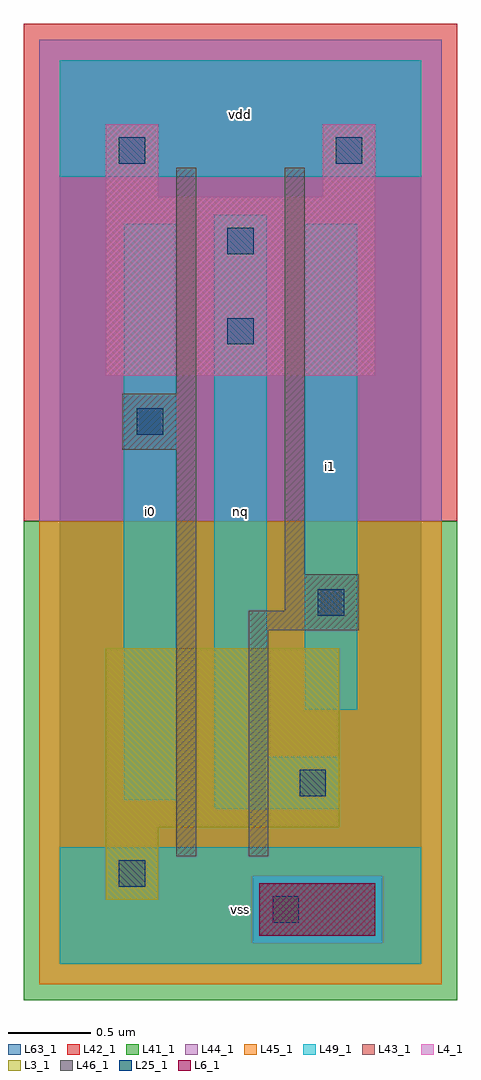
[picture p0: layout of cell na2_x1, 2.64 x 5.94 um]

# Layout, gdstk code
import gdstk
lib = gdstk.Library(unit=1e-6, precision=1e-09)
def R(c, l, rs):  # rectangles x0, y0, x1, y1
    for r in rs: c.add(gdstk.rectangle(r[:2], r[2:], *l))
L3_1 = (3, 1)
L4_1 = (4, 1)
L6_1 = (6, 1)
L25_1 = (25, 1)
L41_1 = (41, 1)
L42_1 = (42, 1)
L43_1 = (43, 1)
L44_1 = (44, 1)
L45_1 = (45, 1)
L46_1 = (46, 1)
L49_1 = (49, 1)
L63_1 = (63, 1)

na2_x1 = lib.new_cell('na2_x1')
R(na2_x1, L3_1, [(0.28,0.39,0.6,0.83), (0.28,0.83,1.7,1.92)])
R(na2_x1, L4_1, [(0.28,3.58,1.92,4.67), (0.28,4.67,0.6,5.11), (1.6,4.67,1.92,5.11)])
R(na2_x1, L6_1, [(1.215,0.17,1.92,0.49)])
R(na2_x1, L25_1, [(1.295,0.25,1.455,0.41), (0.36,0.47,0.52,0.63), (1.46,1.02,1.62,1.18), (1.57,2.12,1.73,2.28), (0.47,3.22,0.63,3.38), (1.02,3.77,1.18,3.93), (1.02,4.32,1.18,4.48), (0.36,4.87,0.52,5.03), (1.68,4.87,1.84,5.03)])
R(na2_x1, L41_1, [(-0.22,-0.22,2.42,2.695)])
R(na2_x1, L42_1, [(-0.22,2.695,2.42,5.72)])
R(na2_x1, L43_1, [(1.215,0.17,1.92,0.49), (0.28,0.39,0.6,0.83), (0.28,0.83,1.7,1.92), (0.28,3.58,1.92,4.67), (0.28,4.67,0.6,5.11), (1.6,4.67,1.92,5.11)])
R(na2_x1, L44_1, [(1.17,0.125,1.965,0.535), (-0.125,2.695,2.325,5.625)])
R(na2_x1, L45_1, [(-0.125,-0.125,2.325,0.125), (-0.125,0.125,1.17,0.535), (1.965,0.125,2.325,0.535), (-0.125,0.535,2.325,2.695)])
R(na2_x1, L46_1, [(0.71,0.655,0.83,3.13), (1.15,0.655,1.27,2.03), (1.15,2.03,1.82,2.15), (1.37,2.15,1.82,2.37), (1.37,2.37,1.49,4.845), (0.38,3.13,0.83,3.47), (0.71,3.47,0.83,4.845)])
R(na2_x1, L49_1, [(0,0,2.2,0.71), (0.94,0.94,1.7,1.26), (0.39,0.995,0.71,4.505), (0.94,1.26,1.26,4.56), (1.49,1.545,1.81,4.505), (0,4.79,2.2,5.5)])
R(na2_x1, L63_1, [(0,0,2.2,5.5)])
na2_x1.add(gdstk.Label('i0', (0.55,2.75), layer=49, texttype=1))
na2_x1.add(gdstk.Label('i0', (0.55,2.75), layer=49, texttype=1))
na2_x1.add(gdstk.Label('vss', (1.1,0.33), layer=49, texttype=1))
na2_x1.add(gdstk.Label('vss', (1.1,0.33), layer=49, texttype=1))
na2_x1.add(gdstk.Label('nq', (1.1,2.75), layer=49, texttype=1))
na2_x1.add(gdstk.Label('nq', (1.1,2.75), layer=49, texttype=1))
na2_x1.add(gdstk.Label('i1', (1.65,3.025), layer=49, texttype=1))
na2_x1.add(gdstk.Label('i1', (1.65,3.025), layer=49, texttype=1))
na2_x1.add(gdstk.Label('vdd', (1.1,5.17), layer=49, texttype=1))
na2_x1.add(gdstk.Label('vdd', (1.1,5.17), layer=49, texttype=1))

lib.write_gds('na2_x1.gds')
